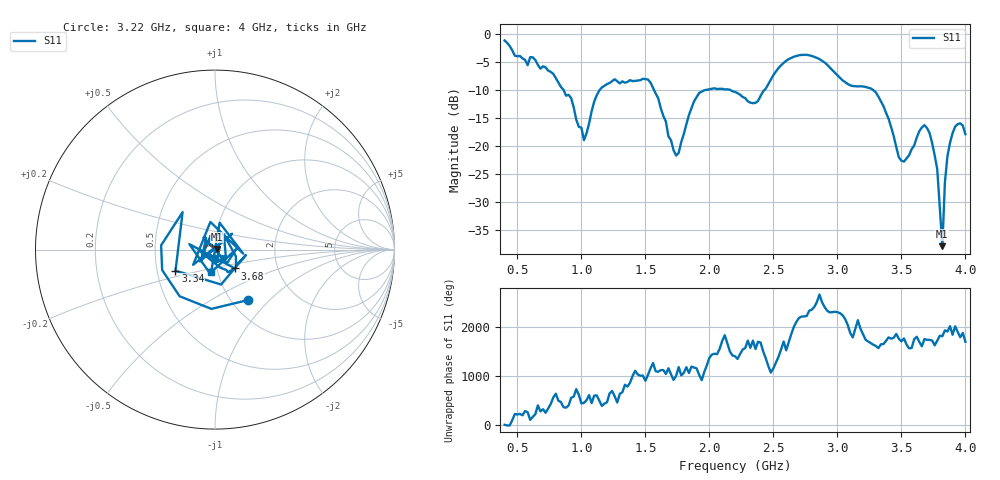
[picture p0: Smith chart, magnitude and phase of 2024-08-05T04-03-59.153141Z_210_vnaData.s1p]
!Created with skrf (http://scikit-rf.org).
# Hz S RI R 50.0
!freq ReS11 ImS11
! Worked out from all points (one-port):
!   181 points, 400 MHz to 4 GHz, reference 50 ohm
!   lowest |S11| = -37.9 dB at 3.82 GHz (marker M1), VSWR 1.03, Z = 51.3 + j0.287 ohm
!   |S11| at or under -10 dB: 860.6 MHz to 1.143 GHz (282.9 MHz wide, 28.2 % of centre); 1.567 GHz to 1.975 GHz (408 MHz wide, 23 % of centre); 3.279 GHz to end of sweep (the widest 3 of 4)
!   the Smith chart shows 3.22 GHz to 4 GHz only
!   S11 on the Smith chart (normalised r, x): 3.22 GHz: 1.19, -0.76; 3.34 GHz: 0.62, -0.16; 3.68 GHz: 1.22, -0.26; 4 GHz: 0.93, -0.24
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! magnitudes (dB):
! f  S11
! 400 MHz  -1.2
! 860 MHz  -10.0
! 920 MHz  -11.5
! 1.02 GHz  -19.0
! 1.14 GHz  -10.1
! 1.3 GHz  -8.8
! 1.52 GHz  -8.1
! 1.6 GHz  -11.5
! 1.72 GHz  -20.8
! 1.76 GHz  -21.3
! 1.92 GHz  -10.5
! 2.2 GHz  -10.4
! 2.36 GHz  -12.3
! 2.66 GHz  -4.1
! 2.86 GHz  -4.5
! 3.1 GHz  -9.2
! 3.22 GHz  -9.5
! 3.34 GHz  -12.0
! 3.48 GHz  -22.1
! 3.56 GHz  -21.7
! 3.68 GHz  -16.3
! 3.72 GHz  -17.7
! 3.78 GHz  -24.2
! 3.82 GHz  -37.9
! 3.84 GHz  -26.5
! 3.88 GHz  -19.4
! 3.94 GHz  -16.1
! 4 GHz  -17.9
